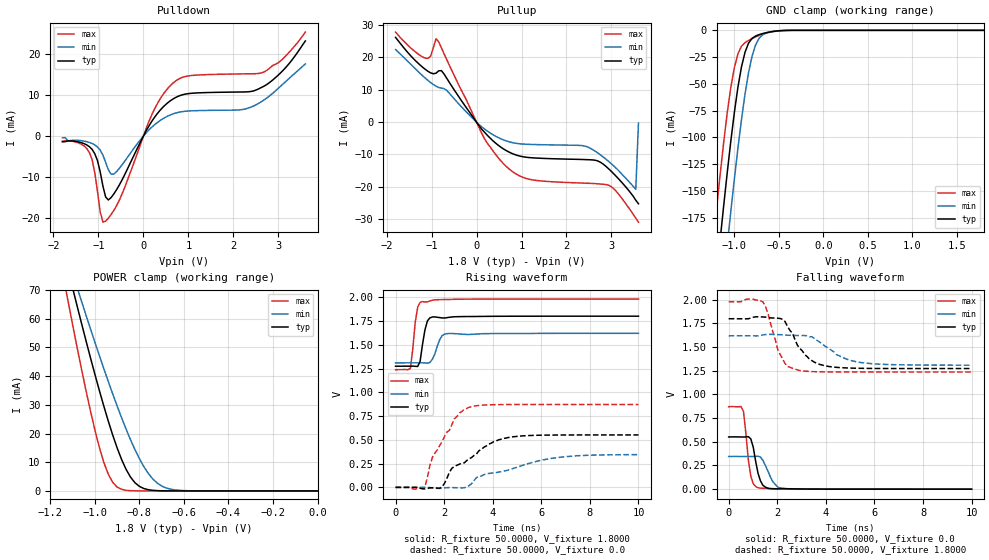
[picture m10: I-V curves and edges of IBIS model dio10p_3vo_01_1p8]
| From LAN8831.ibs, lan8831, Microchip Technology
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|   Model dio10p_3vo_01_1p8
[Model]  dio10p_3vo_01_1p8
Model_type I/O
Polarity   Non-Inverting
Enable   Active-Low
Vinl =   0.0V
Vinh =   1.8000V
Vmeas =  0.9000V
Vref =   0.0V
C_comp   5.0000pF   5.0000pF   5.0000pF
[Temperature Range]   42.0000   0.1250k   -40.0000
[Voltage Range]   1.8000V   1.6200V   1.9800V
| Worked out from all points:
|   slope of the pulldown table from 0 to 0.27 V, typ, clamps not added: 55.3 ohm
|   slope of the pullup table from 0 to 0.27 V, typ, clamps not added: 60.3 ohm
|   GND clamp passes 1 mA (typ) near -0.56 V on its own axis
|   POWER clamp passes 1 mA (typ) near -0.78 V on its own axis
|   rising waveform, R_fixture 50.0000, V_fixture 1.8000: 20-80 % time 211ps typ, 267ps min, 195ps max; typ from 1.27 V to 1.8 V
|   rising waveform, R_fixture 50.0000, V_fixture 0.0: 20-80 % time 1.63ns typ, 2.62ns min, 1.01ns max; typ from 0 V to 0.552 V
|   falling waveform, R_fixture 50.0000, V_fixture 0.0: 20-80 % time 268ps typ, 390ps min, 227ps max; typ from 0.551 V to 0 V
|   falling waveform, R_fixture 50.0000, V_fixture 1.8000: 20-80 % time 823ps typ, 1.15ns min, 557ps max; typ from 1.8 V to 1.27 V
[Pulldown]
|Voltage   I(typ)   I(min)   I(max)
-1.8V     -1.388mA   -427.4uA   -1.229mA
-1.2V     -2.58mA    -1.545mA   -3.994mA
-1.08V    -4.291mA   -2.141mA   -8.895mA
-960mV    -8.723mA   -3.42mA    -18.43mA
-840mV    -14.79mA   -6.34mA    -20.67mA
-660mV    -14.09mA   -9.237mA   -18.11mA
180mV     3.471mA    2.094mA    5.014mA
600mV     8.586mA    5.145mA    12.28mA
1.02V     10.34mA    6.11mA     14.65mA
2.52V     11.26mA    7.703mA    15.17mA
3.06V     15.47mA    12.22mA    18.37mA
3.6V      23.12mA    17.53mA    25.26mA
[Pullup]
|Voltage   I(typ)   I(min)   I(max)
-1.8V     26.21mA    22.45mA    27.85mA
-1.14V    16.34mA    13.62mA    19.79mA
-1.02V    15.24mA    12.25mA    20.41mA
-900mV    15.14mA    11.11mA    25.8mA
-780mV    15.92mA    10.52mA    22.96mA
180mV     -3.159mA   -2.142mA   -5.21mA
780mV     -9.632mA   -6.271mA   -15.09mA
1.26V     -11.05mA   -6.907mA   -17.89mA
2.7V      -12.02mA   -9.559mA   -19.07mA
3.06V     -16.11mA   -13.65mA   -20.7mA
3.54V     -24.13mA   -20.75mA   -29.66mA
3.6V      -25.23mA   -260.7uA   -30.93mA
[GND_clamp]
|Voltage   I(typ)   I(min)   I(max)
-1.8V     -763.5mA   -833.2mA   -702.5mA
-1.24V    -262.8mA   -333.8mA   -200mA
-1.2V     -229.1mA   -299.7mA   -166.9mA
-1.16V    -196.1mA   -266.2mA   -135mA
-1.12V    -164mA     -233.2mA   -104.8mA
-1.08V    -133mA     -200.8mA   -77.14mA
-1.04V    -103.7mA   -169.3mA   -53.44mA
-920mV    -34.14mA   -83.34mA   -14.85mA
-840mV    -11.87mA   -39.24mA   -9.405mA
-760mV    -5.247mA   -13.29mA   -6.079mA
-480mV    -335uA     -444.5uA   -210.4uA
1.8V      518.1pA    11.57nA    284pA
[POWER_clamp]
|Voltage   I(typ)   I(min)   I(max)
-1.8V     305mA      257.8mA    363.6mA
-1.12V    77.07mA    80.82mA    66.04mA
-1.08V    64.61mA    71mA       50.19mA
-1.06V    58.48mA    66.15mA    42.53mA
-980mV    35.1mA     47.26mA    15.3mA
-940mV    24.45mA    38.24mA    5.894mA
-880mV    11mA       25.53mA    557.7uA
-840mV    4.852mA    17.89mA    83.67uA
-800mV    1.594mA    11.28mA    12.03uA
-740mV    210.4uA    4.206mA    650.4nA
-680mV    24.58uA    1.046mA    36.17nA
0V        518.1pA    3.529nA    483.7pA
[Ramp]
| variable   typ   min   max
dV/dt_r  0.3311/1.6459n   0.2069/2.5759n   0.5230/1.0144n
dV/dt_f  0.3157/0.8002n   0.1863/1.1477n   0.4456/0.5414n
R_load = 50.0000
[Rising Waveform]
R_fixture= 50.0000
V_fixture= 1.8000
V_fixture_min= 1.6200
V_fixture_max= 1.9800
|time   V(typ)   V(min)   V(max)
0s        1.274V     1.309V     1.238V
610ps     1.275V     1.31V      1.25V
910ps     1.272V     1.31V      1.894V
1.01ns    1.325V     1.31V      1.944V
1.11ns    1.503V     1.31V      1.954V
1.31ns    1.749V     1.306V     1.95V
1.52ns    1.792V     1.349V     1.969V
1.82ns    1.785V     1.555V     1.974V
2.12ns    1.785V     1.616V     1.976V
10ns      1.8V       1.62V      1.98V
[Rising Waveform]
R_fixture= 50.0000
V_fixture= 0.0
V_fixture_min= 0.0
V_fixture_max= 0.0
|time   V(typ)   V(min)   V(max)
0s        262.6uV    170.7uV    532.5uV
1.21ns    -15.64mV   619.8uV    6.075mV
1.52ns    -2.774mV   -6.156mV   317.9mV
1.92ns    6.713mV    -8.099mV   484.6mV
2.42ns    220.3mV    -2.363mV   721.2mV
3.03ns    300.9mV    18.39mV    843.2mV
3.43ns    384.7mV    114.1mV    862.3mV
4.85ns    532.8mV    200.4mV    871.4mV
6.77ns    551mV      316.9mV    871.7mV
10ns      551.8mV    344.8mV    871.7mV
[Falling Waveform]
R_fixture= 50.0000
V_fixture= 0.0
V_fixture_min= 0.0
V_fixture_max= 0.0
|time   V(typ)   V(min)   V(max)
0s        551.4mV    345.4mV    871.1mV
510ps     551.2mV    345.6mV    872.2mV
610ps     550.8mV    345.5mV    819.1mV
810ps     554.5mV    345.4mV    307.6mV
910ps     531.7mV    345.2mV    140mV
1.21ns    166mV      348.7mV    14.81mV
1.52ns    20.34mV    245.1mV    8.377mV
1.82ns    5.085mV    78.67mV    3.487mV
2.22ns    6.187mV    8.288mV    1.185mV
10ns      -56.62nV   1.709uV    982.2nV
[Falling Waveform]
R_fixture= 50.0000
V_fixture= 1.8000
V_fixture_min= 1.6200
V_fixture_max= 1.9800
|time   V(typ)   V(min)   V(max)
0s        1.8V       1.62V      1.979V
1.41ns    1.819V     1.629V     1.977V
1.62ns    1.812V     1.634V     1.854V
2.02ns    1.805V     1.632V     1.471V
2.42ns    1.719V     1.626V     1.295V
2.73ns    1.579V     1.624V     1.267V
3.33ns    1.371V     1.61V      1.243V
4.14ns    1.295V     1.484V     1.238V
5.66ns    1.276V     1.33V      1.238V
10ns      1.274V     1.31V      1.237V
